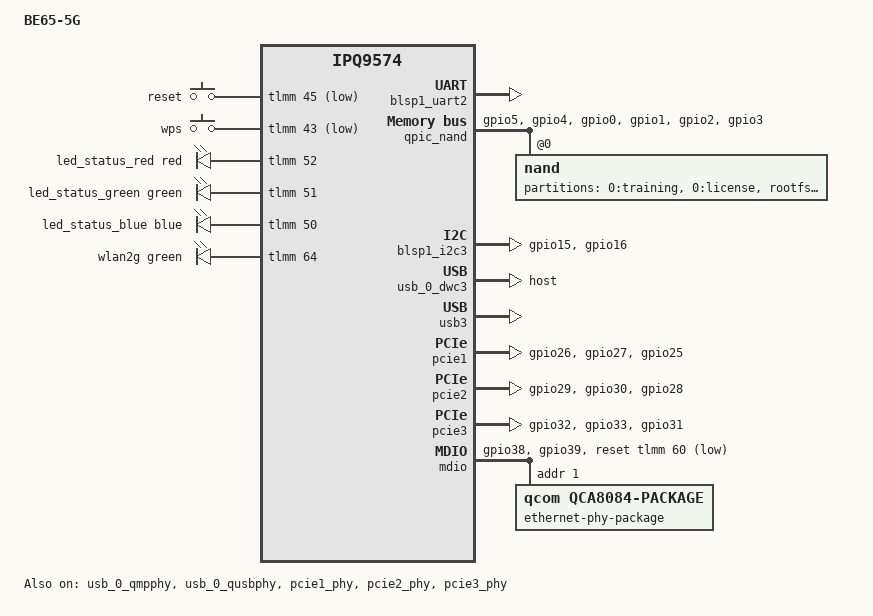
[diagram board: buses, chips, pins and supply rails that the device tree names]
// SPDX-License-Identifier: GPL-2.0-or-later OR MIT
/*
 * Device tree for BE65-5G (Qualcomm IPQ9574 AL02-C11)
 *
 * Wi-Fi 7 router: 1× IPQ9574 integrated 2.4 GHz + 3× QCN9224 (PCIe)
 * Ethernet: 4× QCA8084 QSGMII (PPE ports 1-4), eth0=WAN, eth1-4=LAN
 * Storage:  QSPI NAND (UBI rootfs) + SPI NOR (u-boot/env)
 * Console:  115200n8 on GPIO34/GPIO35 (BLSP1_UART2)
 *
 * Copyright (c) The Linux Foundation and contributors
 */

#include <dt-bindings/gpio/gpio.h>
#include <dt-bindings/input/input.h>
#include <dt-bindings/leds/common.h>
#include "ipq9574-rdp-common.dtsi"

/ {
	model = "BE65-5G";
	compatible = "qcom,ipq9574-ap-al02-c11", "qcom,ipq9574";

	aliases {
		serial0   = &blsp1_uart2;
		led-boot  = &led_status_green;
		led-failsafe = &led_status_red;
		led-running  = &led_status_green;
		led-upgrade  = &led_status_blue;
	};

	chosen {
		stdout-path = "serial0:115200n8";
	};

	gpio-keys {
		compatible = "gpio-keys";

		reset {
			label = "reset";
			gpios = <&tlmm 45 GPIO_ACTIVE_LOW>;
			linux,code = <KEY_RESTART>;
			debounce-interval = <60>;
		};

		wps {
			label = "wps";
			gpios = <&tlmm 43 GPIO_ACTIVE_LOW>;
			linux,code = <KEY_WPS_BUTTON>;
			debounce-interval = <60>;
		};
	};

	leds {
		compatible = "gpio-leds";

		led_status_red: red {
			function = LED_FUNCTION_STATUS;
			color = <LED_COLOR_ID_RED>;
			gpios = <&tlmm 52 GPIO_ACTIVE_HIGH>;
		};

		led_status_green: green {
			function = LED_FUNCTION_STATUS;
			color = <LED_COLOR_ID_GREEN>;
			gpios = <&tlmm 51 GPIO_ACTIVE_HIGH>;
		};

		led_status_blue: blue {
			function = LED_FUNCTION_STATUS;
			color = <LED_COLOR_ID_BLUE>;
			gpios = <&tlmm 50 GPIO_ACTIVE_HIGH>;
		};

		wlan2g {
			function = LED_FUNCTION_WLAN;
			color = <LED_COLOR_ID_GREEN>;
			gpios = <&tlmm 64 GPIO_ACTIVE_HIGH>;
			linux,default-trigger = "phy0tpt";
		};
	};
};

/* ── UART ───────────────────────────────────────────────── */
&blsp1_uart2 {
	pinctrl-0 = <&uart2_pins>;
	pinctrl-names = "default";
	status = "okay";
};

/* ── SPI NOR (u-boot + env on NOR, inherited from rdp-common.dtsi) */
/* rdp-common provides blsp1_spi0 with jedec,spi-nor — no override needed */

/* ── QSPI NAND (UBI rootfs) ──────────────────────────��─── */
&qpic_nand {
	pinctrl-0 = <&qpic_nand_default>;
	pinctrl-names = "default";
	status = "okay";

	nand@0 {
		reg = <0>;
		nand-ecc-engine = <&qpic_nand>;
		nand-ecc-strength = <4>;
		nand-ecc-step-size = <512>;

		partitions {
			compatible = "fixed-partitions";
			#address-cells = <1>;
			#size-cells = <1>;

			/* training / bbt reserved by Qualcomm SBL */
			partition@0 {
				label = "0:training";
				reg = <0x0 0x80000>;
				read-only;
			};

			partition@80000 {
				label = "0:license";
				reg = <0x80000 0x40000>;
				read-only;
			};

			/* dual-bank rootfs for failsafe upgrades */
			partition@c0000 {
				label = "rootfs";
				reg = <0xc0000 0x3c00000>;
			};

			partition@3cc0000 {
				label = "rootfs_1";
				reg = <0x3cc0000 0x3c00000>;
			};
		};
	};
};

/* ── I2C (expansion) ───────────────────────────────────── */
&blsp1_i2c3 {
	pinctrl-0 = <&i2c3_pins>;
	pinctrl-names = "default";
	status = "okay";
};

/* ── USB 3.0 ────────────────────────────────────────────── */
&usb_0_dwc3 {
	dr_mode = "host";
};

&usb_0_qmpphy {
	vdda-pll-supply = <&mp5496_l5>;
	vdda-phy-supply = <&regulator_fixed_0p925>;
	status = "okay";
};

&usb_0_qusbphy {
	vdd-supply = <&regulator_fixed_0p925>;
	vdda-pll-supply = <&mp5496_l5>;
	vdda-phy-dpdm-supply = <&regulator_fixed_3p3>;
	status = "okay";
};

&usb3 {
	status = "okay";
};

/* ── PCIe (3× QCN9224 Wi-Fi 7 cards) ───────────────────── */
&pcie1 {
	pinctrl-0 = <&pcie1_default>;
	pinctrl-names = "default";
	perst-gpios = <&tlmm 26 GPIO_ACTIVE_LOW>;
	wake-gpios  = <&tlmm 27 GPIO_ACTIVE_LOW>;
	status = "okay";
};
&pcie1_phy { status = "okay"; };

&pcie2 {
	pinctrl-0 = <&pcie2_default>;
	pinctrl-names = "default";
	perst-gpios = <&tlmm 29 GPIO_ACTIVE_LOW>;
	wake-gpios  = <&tlmm 30 GPIO_ACTIVE_LOW>;
	status = "okay";
};
&pcie2_phy { status = "okay"; };

&pcie3 {
	pinctrl-0 = <&pcie3_default>;
	pinctrl-names = "default";
	perst-gpios = <&tlmm 32 GPIO_ACTIVE_LOW>;
	wake-gpios  = <&tlmm 33 GPIO_ACTIVE_LOW>;
	status = "okay";
};
&pcie3_phy { status = "okay"; };

/* ── MDIO + QCA8084 4-port PHY package ──────────────────── */
&mdio {
	pinctrl-0 = <&mdio_pins>;
	pinctrl-names = "default";
	reset-gpios = <&tlmm 60 GPIO_ACTIVE_LOW>;
	clock-frequency = <6250000>;
	status = "okay";

	/* QCA8084 quad-port 1G PHY — QSGMII bundle on PCS0 */
	ethernet-phy-package@1 {
		compatible = "qcom,qca8084-package";
		#address-cells = <1>;
		#size-cells = <0>;
		reg = <1>;

		/* PCS0 = QSGMII MAC mode (4×1G toward PPE), PCS1 unused */
		qcom,package-mode = <1>;

		phy0: ethernet-phy@1 { reg = <1>; };
		phy1: ethernet-phy@2 { reg = <2>; };
		phy2: ethernet-phy@3 { reg = <3>; };
		phy3: ethernet-phy@4 { reg = <4>; };
	};
};

/* ── PPE Ethernet ports ───────────────────────────���─────── */
/* eth0=WAN (port1), eth1-4=LAN (port2-4) */
&qcom_ppe {
	ethernet-ports {
		#address-cells = <1>;
		#size-cells = <0>;

		xgmac1: port@1 {
			reg = <1>;
			label = "wan";
			phy-mode = "qsgmii";
			managed = "in-band-status";
			phy-handle = <&phy0>;
			pcs-handle = <&pcs0_ch0>;
			local-mac-address = [00 00 00 00 00 00];
			clocks = <&nsscc NSS_CC_PORT1_MAC_CLK>,
				 <&nsscc NSS_CC_PORT1_RX_CLK>,
				 <&nsscc NSS_CC_PORT1_TX_CLK>;
			clock-names = "port_mac", "port_rx", "port_tx";
			resets = <&nsscc PORT1_MAC_ARES>,
				 <&nsscc PORT1_RX_ARES>,
				 <&nsscc PORT1_TX_ARES>;
			reset-names = "port_mac", "port_rx", "port_tx";
		};

		xgmac2: port@2 {
			reg = <2>;
			label = "lan1";
			phy-mode = "qsgmii";
			managed = "in-band-status";
			phy-handle = <&phy1>;
			pcs-handle = <&pcs0_ch1>;
			local-mac-address = [00 00 00 00 00 00];
			clocks = <&nsscc NSS_CC_PORT2_MAC_CLK>,
				 <&nsscc NSS_CC_PORT2_RX_CLK>,
				 <&nsscc NSS_CC_PORT2_TX_CLK>;
			clock-names = "port_mac", "port_rx", "port_tx";
			resets = <&nsscc PORT2_MAC_ARES>,
				 <&nsscc PORT2_RX_ARES>,
				 <&nsscc PORT2_TX_ARES>;
			reset-names = "port_mac", "port_rx", "port_tx";
		};

		xgmac3: port@3 {
			reg = <3>;
			label = "lan2";
			phy-mode = "qsgmii";
			managed = "in-band-status";
			phy-handle = <&phy2>;
			pcs-handle = <&pcs0_ch2>;
			local-mac-address = [00 00 00 00 00 00];
			clocks = <&nsscc NSS_CC_PORT3_MAC_CLK>,
				 <&nsscc NSS_CC_PORT3_RX_CLK>,
				 <&nsscc NSS_CC_PORT3_TX_CLK>;
			clock-names = "port_mac", "port_rx", "port_tx";
			resets = <&nsscc PORT3_MAC_ARES>,
				 <&nsscc PORT3_RX_ARES>,
				 <&nsscc PORT3_TX_ARES>;
			reset-names = "port_mac", "port_rx", "port_tx";
		};

		xgmac4: port@4 {
			reg = <4>;
			label = "lan3";
			phy-mode = "qsgmii";
			managed = "in-band-status";
			phy-handle = <&phy3>;
			pcs-handle = <&pcs0_ch3>;
			local-mac-address = [00 00 00 00 00 00];
			clocks = <&nsscc NSS_CC_PORT4_MAC_CLK>,
				 <&nsscc NSS_CC_PORT4_RX_CLK>,
				 <&nsscc NSS_CC_PORT4_TX_CLK>;
			clock-names = "port_mac", "port_rx", "port_tx";
			resets = <&nsscc PORT4_MAC_ARES>,
				 <&nsscc PORT4_RX_ARES>,
				 <&nsscc PORT4_TX_ARES>;
			reset-names = "port_mac", "port_rx", "port_tx";
		};
	};
};

/* ── RPM regulators (same as Kiwi-DVK) ─────────────────── */
&rpm_requests {
	regulators {
		compatible = "qcom,rpm-mp5496-regulators";
		ipq9574_s1: s1 {
			regulator-min-microvolt = <725000>;
			regulator-max-microvolt = <1075000>;
		};
		mp5496_l5: l5 {
			regulator-min-microvolt = <1800000>;
			regulator-max-microvolt = <1800000>;
			regulator-always-on;
			regulator-boot-on;
		};
	};
};

/* ── Clock tree ────────────────────────���────────────────── */
&ref_48mhz_clk {
	clock-div = <1>;
	clock-mult = <1>;
};

&xo_board_clk {
	clock-div = <2>;
	clock-mult = <1>;
};

&xo_clk {
	clock-frequency = <48000000>;
};

&sleep_clk {
	clock-frequency = <32000>;
};

/* ── Pin control ────────────────────────────────────────── */
&tlmm {
	/* PCIe perst/wake pins */
	pcie1_default: pcie1-default-state {
		perst-pins {
			pins = "gpio26";
			function = "gpio";
			drive-strength = <8>;
			bias-pull-down;
			output-low;
		};
		wake-pins {
			pins = "gpio27";
			function = "pcie1_wake";
			drive-strength = <6>;
			bias-pull-up;
		};
		clkreq-pins {
			pins = "gpio25";
			function = "pcie1_clk";
			drive-strength = <6>;
			bias-pull-up;
		};
	};

	pcie2_default: pcie2-default-state {
		perst-pins {
			pins = "gpio29";
			function = "gpio";
			drive-strength = <8>;
			bias-pull-down;
			output-low;
		};
		wake-pins {
			pins = "gpio30";
			function = "pcie2_wake";
			drive-strength = <6>;
			bias-pull-up;
		};
		clkreq-pins {
			pins = "gpio28";
			function = "pcie2_clk";
			drive-strength = <6>;
			bias-pull-up;
		};
	};

	pcie3_default: pcie3-default-state {
		perst-pins {
			pins = "gpio32";
			function = "gpio";
			drive-strength = <8>;
			bias-pull-up;
			output-low;
		};
		wake-pins {
			pins = "gpio33";
			function = "pcie3_wake";
			drive-strength = <6>;
			bias-pull-up;
		};
		clkreq-pins {
			pins = "gpio31";
			function = "pcie3_clk";
			drive-strength = <6>;
			bias-pull-up;
		};
	};

	mdio_pins: mdio-pins {
		mdc  { pins = "gpio38"; function = "mdc";  drive-strength = <8>; bias-disable; };
		mdio { pins = "gpio39"; function = "mdio"; drive-strength = <8>; bias-pull-up; };
	};

	qpic_nand_default: qpic-nand-default-state {
		clk  { pins = "gpio5"; function = "qspi_clk"; drive-strength = <8>; bias-disable; };
		cs   { pins = "gpio4"; function = "qspi_cs";  drive-strength = <8>; bias-disable; };
		data { pins = "gpio0", "gpio1", "gpio2", "gpio3"; function = "qspi_data"; drive-strength = <8>; bias-disable; };
	};

	i2c3_pins: i2c3-pins {
		pins = "gpio15", "gpio16";
		function = "blsp3_i2c";
		drive-strength = <8>;
		bias-disable;
	};
};
